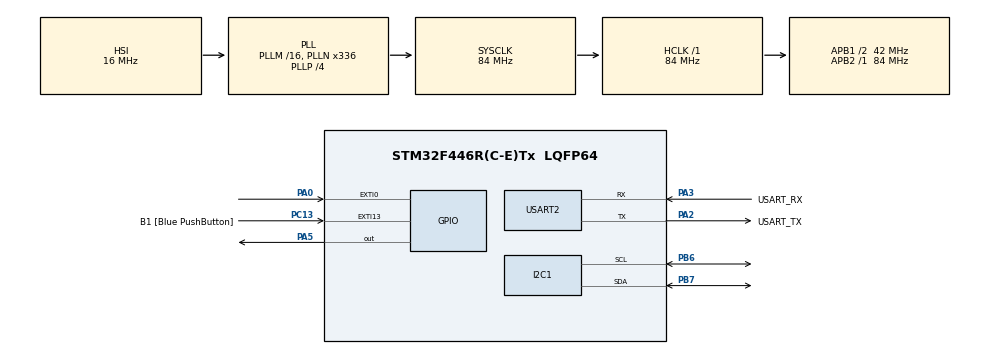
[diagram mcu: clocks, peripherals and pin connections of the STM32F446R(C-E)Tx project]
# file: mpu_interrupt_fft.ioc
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FREERTOS.BinarySemaphores01=dataReadySMPHR,Dynamic,NULL,Depleted
FREERTOS.Tasks01=readingTask,24,1024,StartReadingTask,Default,NULL,Dynamic,NULL,NULL
FREERTOS.configTOTAL_HEAP_SIZE=104880
Mcu.Family=STM32F4
Mcu.Name=STM32F446R(C-E)Tx
Mcu.Package=LQFP64
NUCLEO-F446RE.LD1=true
NVIC.EXTI0_IRQn=true\:5\:0\:false\:false\:true\:true\:true\:true\:true
NVIC.PriorityGroup=NVIC_PRIORITYGROUP_4
NVIC.TIM1_UP_TIM10_IRQn=true\:15\:0\:false\:false\:true\:false\:false\:true\:true
NVIC.TimeBase=TIM1_UP_TIM10_IRQn
NVIC.TimeBaseIP=TIM1
PA0-WKUP.GPIO_PuPd=GPIO_PULLDOWN
PA0-WKUP.Signal=GPXTI0
PA13.GPIO_Label=TMS
PA13.Signal=SYS_JTMS-SWDIO
PA14.GPIO_Label=TCK
PA14.Signal=SYS_JTCK-SWCLK
PA2.GPIO_Label=USART_TX
PA2.Mode=Asynchronous
PA2.Signal=USART2_TX
PA3.GPIO_Label=USART_RX
PA3.Mode=Asynchronous
PA3.Signal=USART2_RX
PA5.Signal=GPIO_Output
PB3.GPIO_Label=SWO
PB3.Signal=SYS_JTDO-SWO
PB6.Mode=I2C
PB6.Signal=I2C1_SCL
PB7.Mode=I2C
PB7.Signal=I2C1_SDA
PC13.GPIO_Label=B1 [Blue PushButton]
PC13.GPIO_ModeDefaultEXTI=GPIO_MODE_IT_FALLING
PC13.Signal=GPXTI13
PC14-OSC32_IN.Signal=RCC_OSC32_IN
PC15-OSC32_OUT.Signal=RCC_OSC32_OUT
PH0-OSC_IN.Signal=RCC_OSC_IN
PH1-OSC_OUT.Signal=RCC_OSC_OUT
ProjectManager.HeapSize=0x200
ProjectManager.StackSize=0x400
ProjectManager.TargetToolchain=STM32CubeIDE
RCC.AHBFreq_Value=84000000
RCC.APB1CLKDivider=RCC_HCLK_DIV2
RCC.APB1Freq_Value=42000000
RCC.APB1TimFreq_Value=84000000
RCC.APB2Freq_Value=84000000
RCC.APB2TimFreq_Value=84000000
RCC.CortexFreq_Value=84000000
RCC.FLatency-AdvancedSettings=FLASH_LATENCY_2
RCC.HCLKFreq_Value=84000000
RCC.HSE_VALUE=8000000
RCC.HSI_VALUE=16000000
RCC.LSE_VALUE=32768
RCC.PLLN=336
RCC.PLLP=RCC_PLLP_DIV4
RCC.SYSCLKFreq_VALUE=84000000
RCC.SYSCLKSource=RCC_SYSCLKSOURCE_PLLCLK
RCC.USBFreq_Value=168000000
RCC.VCOOutputFreq_Value=336000000
USART2.VirtualMode=VM_ASYNC
VP_FREERTOS_VS_CMSIS_V2.Mode=CMSIS_V2
VP_NUCLEO-F446RE_VS_BSP_COMMON.Mode=COMMON
VP_SYS_VS_tim1.Mode=TIM1
board=NUCLEO-F446RE

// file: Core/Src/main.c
/* USER CODE BEGIN Header */
/**
  ******************************************************************************
  * @file           : main.c
  * @brief          : Main program body
  ******************************************************************************
  * @attention
  *
  * Copyright (c) 2026 STMicroelectronics.
  * All rights reserved.
  *
  * This software is licensed under terms that can be found in the LICENSE file
  * in the root directory of this software component.
  * If no LICENSE file comes with this software, it is provided AS-IS.
  *
  ******************************************************************************
  */
/* USER CODE END Header */
#include "main.h"
#include "cmsis_os.h"

/* USER CODE BEGIN Includes */
#include "mpu.h"
#include <stdio.h>
#include <string.h>

#define FFT_SIZE 256U
/* USER CODE END Includes */

I2C_HandleTypeDef hi2c1;

UART_HandleTypeDef huart2;

/* Definitions for readingTask */
osThreadId_t readingTaskHandle;
const osThreadAttr_t readingTask_attributes = {
  .name = "readingTask",
  .stack_size = 1024 * 4,
  .priority = (osPriority_t) osPriorityNormal,
};
/* Definitions for dataReadySMPHR */
osSemaphoreId_t dataReadySMPHRHandle;
const osSemaphoreAttr_t dataReadySMPHR_attributes = {
  .name = "dataReadySMPHR"
};
/* USER CODE BEGIN PV */
MPU_t mpu_struct;
/* USER CODE END PV */

void SystemClock_Config(void);
static void MX_GPIO_Init(void);
static void MX_I2C1_Init(void);
static void MX_USART2_UART_Init(void);
void StartReadingTask(void *argument);

int main(void)
{

  /* MCU Configuration--------------------------------------------------------*/

  /* Reset of all peripherals, Initializes the Flash interface and the Systick. */
  HAL_Init();

  /* Configure the system clock */
  SystemClock_Config();

  /* Initialize all configured peripherals */
  MX_GPIO_Init();
  MX_I2C1_Init();
  MX_USART2_UART_Init();
  /* USER CODE BEGIN 2 */

  while (mpu_init(&hi2c1, &mpu_struct) == 1);    //mpu init

  /* USER CODE END 2 */

  /* Init scheduler */
  osKernelInitialize();

  /* Create the semaphores(s) */
  /* creation of dataReadySMPHR */
  dataReadySMPHRHandle = osSemaphoreNew(1, 0, &dataReadySMPHR_attributes);

  /* Create the thread(s) */
  /* creation of readingTask */
  readingTaskHandle = osThreadNew(StartReadingTask, NULL, &readingTask_attributes);

  /* Initialize leds */
  BSP_LED_Init(LED2);

  /* Start scheduler */
  osKernelStart();

  /* We should never get here as control is now taken by the scheduler */

  /* Infinite loop */
  while (1)
  {

  }
}

void SystemClock_Config(void)
{
  RCC_OscInitTypeDef RCC_OscInitStruct = {0};
  RCC_ClkInitTypeDef RCC_ClkInitStruct = {0};

  /** Configure the main internal regulator output voltage
  */
  __HAL_RCC_PWR_CLK_ENABLE();
  __HAL_PWR_VOLTAGESCALING_CONFIG(PWR_REGULATOR_VOLTAGE_SCALE3);

  /** Initializes the RCC Oscillators according to the specified parameters
  * in the RCC_OscInitTypeDef structure.
  */
  RCC_OscInitStruct.OscillatorType = RCC_OSCILLATORTYPE_HSI;
  RCC_OscInitStruct.HSIState = RCC_HSI_ON;
  RCC_OscInitStruct.HSICalibrationValue = RCC_HSICALIBRATION_DEFAULT;
  RCC_OscInitStruct.PLL.PLLState = RCC_PLL_ON;
  RCC_OscInitStruct.PLL.PLLSource = RCC_PLLSOURCE_HSI;
  RCC_OscInitStruct.PLL.PLLM = 16;
  RCC_OscInitStruct.PLL.PLLN = 336;
  RCC_OscInitStruct.PLL.PLLP = RCC_PLLP_DIV4;
  RCC_OscInitStruct.PLL.PLLQ = 2;
  RCC_OscInitStruct.PLL.PLLR = 2;
  if (HAL_RCC_OscConfig(&RCC_OscInitStruct) != HAL_OK)
  {
    Error_Handler();
  }

  /** Initializes the CPU, AHB and APB buses clocks
  */
  RCC_ClkInitStruct.ClockType = RCC_CLOCKTYPE_HCLK|RCC_CLOCKTYPE_SYSCLK
                              |RCC_CLOCKTYPE_PCLK1|RCC_CLOCKTYPE_PCLK2;
  RCC_ClkInitStruct.SYSCLKSource = RCC_SYSCLKSOURCE_PLLCLK;
  RCC_ClkInitStruct.AHBCLKDivider = RCC_SYSCLK_DIV1;
  RCC_ClkInitStruct.APB1CLKDivider = RCC_HCLK_DIV2;
  RCC_ClkInitStruct.APB2CLKDivider = RCC_HCLK_DIV1;

  if (HAL_RCC_ClockConfig(&RCC_ClkInitStruct, FLASH_LATENCY_2) != HAL_OK)
  {
    Error_Handler();
  }
}

static void MX_I2C1_Init(void)
{

  hi2c1.Instance = I2C1;
  hi2c1.Init.ClockSpeed = 100000;
  hi2c1.Init.DutyCycle = I2C_DUTYCYCLE_2;
  hi2c1.Init.OwnAddress1 = 0;
  hi2c1.Init.AddressingMode = I2C_ADDRESSINGMODE_7BIT;
  hi2c1.Init.DualAddressMode = I2C_DUALADDRESS_DISABLE;
  hi2c1.Init.OwnAddress2 = 0;
  hi2c1.Init.GeneralCallMode = I2C_GENERALCALL_DISABLE;
  hi2c1.Init.NoStretchMode = I2C_NOSTRETCH_DISABLE;
  if (HAL_I2C_Init(&hi2c1) != HAL_OK)
  {
    Error_Handler();
  }

}

static void MX_USART2_UART_Init(void)
{

  huart2.Instance = USART2;
  huart2.Init.BaudRate = 115200;
  huart2.Init.WordLength = UART_WORDLENGTH_8B;
  huart2.Init.StopBits = UART_STOPBITS_1;
  huart2.Init.Parity = UART_PARITY_NONE;
  huart2.Init.Mode = UART_MODE_TX_RX;
  huart2.Init.HwFlowCtl = UART_HWCONTROL_NONE;
  huart2.Init.OverSampling = UART_OVERSAMPLING_16;
  if (HAL_UART_Init(&huart2) != HAL_OK)
  {
    Error_Handler();
  }

}

static void MX_GPIO_Init(void)
{
  GPIO_InitTypeDef GPIO_InitStruct = {0};

  /* GPIO Ports Clock Enable */
  __HAL_RCC_GPIOC_CLK_ENABLE();
  __HAL_RCC_GPIOH_CLK_ENABLE();
  __HAL_RCC_GPIOA_CLK_ENABLE();
  __HAL_RCC_GPIOB_CLK_ENABLE();

  /*Configure GPIO pin : B1_Pin */
  GPIO_InitStruct.Pin = B1_Pin;
  GPIO_InitStruct.Mode = GPIO_MODE_IT_FALLING;
  GPIO_InitStruct.Pull = GPIO_NOPULL;
  HAL_GPIO_Init(B1_GPIO_Port, &GPIO_InitStruct);

  /*Configure GPIO pin : PA0 */
  GPIO_InitStruct.Pin = GPIO_PIN_0;
  GPIO_InitStruct.Mode = GPIO_MODE_IT_RISING;
  GPIO_InitStruct.Pull = GPIO_PULLDOWN;
  HAL_GPIO_Init(GPIOA, &GPIO_InitStruct);

  /* EXTI interrupt init*/
  HAL_NVIC_SetPriority(EXTI0_IRQn, 5, 0);
  HAL_NVIC_EnableIRQ(EXTI0_IRQn);

}

/* USER CODE BEGIN 4 */

void HAL_GPIO_EXTI_Callback(uint16_t GPIO_Pin)
{
    if (GPIO_Pin == GPIO_PIN_0)
    {
        osSemaphoreRelease(dataReadySMPHRHandle); 		//release -> task can acquire
    }
}

/* USER CODE END 4 */

void StartReadingTask(void *argument)
{
  /* USER CODE BEGIN 5 */

  char msg[16];
  mpu_enable_hardware_interrupts(&hi2c1);
  /* Infinite loop */
  for(;;)
  {
	osSemaphoreAcquire(dataReadySMPHRHandle, osWaitForever); 		//acquire -> wait for release

	HAL_StatusTypeDef status = mpu_read_accel(&hi2c1, &mpu_struct);
	if (status == HAL_OK) {
		sprintf(msg, "%.5f\r\n", mpu_struct.Az);
		HAL_UART_Transmit(&huart2, (uint8_t*)msg, strlen(msg), 100);
	}
  }
  /* USER CODE END 5 */
}

void HAL_TIM_PeriodElapsedCallback(TIM_HandleTypeDef *htim)
{
  if (htim->Instance == TIM1)
  {
    HAL_IncTick();
  }
}

void Error_Handler(void)
{
  __disable_irq();
  while (1)
  {
  }
}
